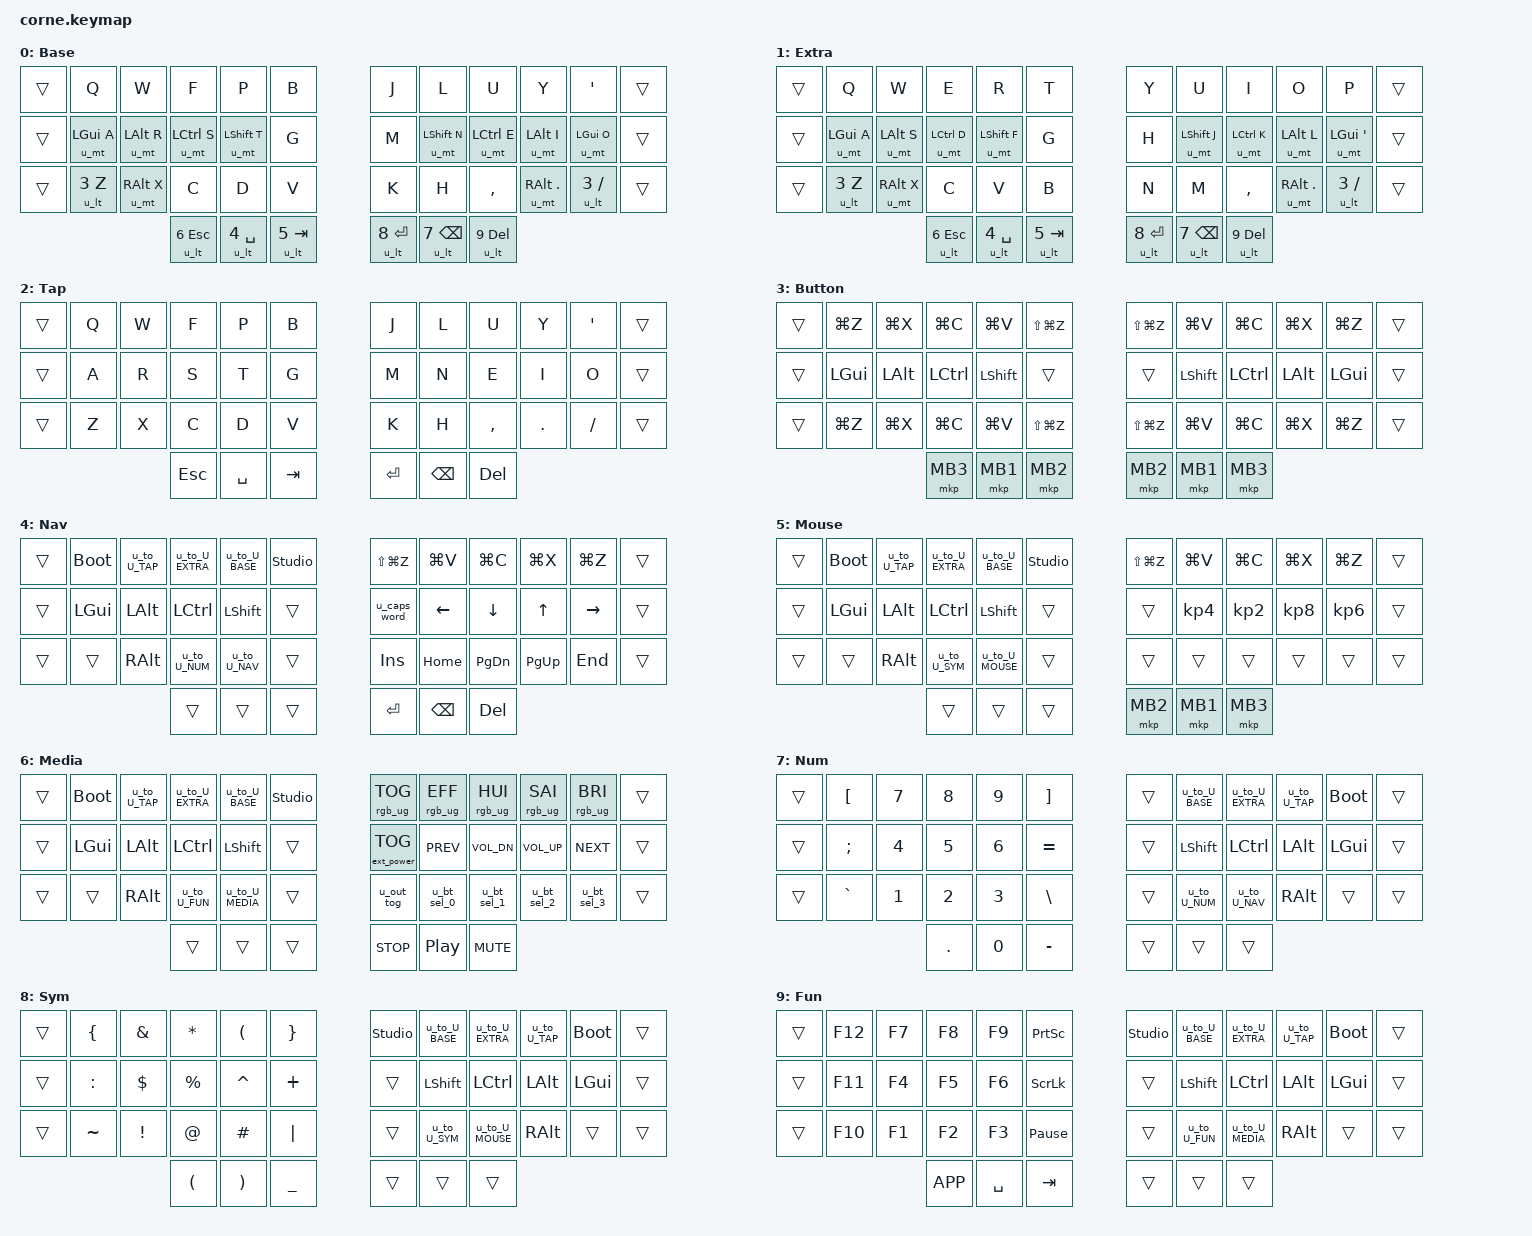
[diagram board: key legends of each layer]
#include <behaviors.dtsi>
#include <dt-bindings/zmk/keys.h>
#include <dt-bindings/zmk/bt.h>
#include <dt-bindings/zmk/outputs.h>
#include <dt-bindings/zmk/ext_power.h>

/ {
	keymap {
		compatible = "zmk,keymap";

	/* Base layer */
	BASE {
		display-name = "Base";
			bindings = <
			&trans			&kp Q  			&kp W  			&kp F  			&kp P  			&kp B       		&kp J  			&kp L  			&kp U  			&kp Y  			&kp SQT  		&trans
			&trans  		&u_mt LGUI A  		&u_mt LALT R  		&u_mt LCTRL S  		&u_mt LSHFT T  		&kp G       		&kp M  			&u_mt LSHFT N  		&u_mt LCTRL E  		&u_mt LALT I  		&u_mt LGUI O  		&trans
			&trans  		&u_lt 3 Z  		&u_mt RALT X  		&kp C  			&kp D  			&kp V       		&kp K  			&kp H  			&kp COMMA  		&u_mt RALT DOT  	&u_lt 3 SLASH  		&trans
												&u_lt 6 ESC  		&u_lt 4 SPACE  		&u_lt 5 TAB    		&u_lt 8 RET  		&u_lt 7 BSPC  		&u_lt 9 DEL
			>;
		};

	/* Extra layer */
	EXTRA {
		display-name = "Extra";
			bindings = <
			&trans 			&kp Q  			&kp W  			&kp E  			&kp R  			&kp T       		&kp Y  			&kp U  			&kp I  			&kp O  			&kp P  			&trans
			&trans 			&u_mt LGUI A  		&u_mt LALT S  		&u_mt LCTRL D  		&u_mt LSHFT F  		&kp G       		&kp H  			&u_mt LSHFT J  		&u_mt LCTRL K  		&u_mt LALT L  		&u_mt LGUI SQT  	&trans
			&trans 			&u_lt 3 Z  		&u_mt RALT X  		&kp C  			&kp V  			&kp B    		&kp N  			&kp M  			&kp COMMA  		&u_mt RALT DOT  	&u_lt 3 SLASH  		&trans
												&u_lt 6	ESC  		&u_lt 4 SPACE  		&u_lt 5 TAB     	&u_lt 8 RET  		&u_lt 7 BSPC  		&u_lt 9 DEL
			>;
		};

	/* Tap layer */
	TAP {
		display-name   = "Tap";
		bindings = <
			&trans  		&kp Q  			&kp W  			&kp F  			&kp P        		&kp B       		&kp J  			&kp L  			&kp U  			&kp Y  			&kp SQT  		&trans
			&trans			&kp A  			&kp R  			&kp S  			&kp T			&kp G       		&kp M  			&kp N  			&kp E  			&kp I  			&kp O  			&trans
			&trans			&kp Z  			&kp X  			&kp C  			&kp D			&kp V       		&kp K  			&kp H  			&kp COMMA  		&kp DOT  		&kp SLASH  		&trans
												&kp ESC  		&kp SPACE  		&kp TAB       		&kp RET  		&kp BSPC  		&kp DEL
			>;
		};

	/* Button layer */
	BUTTON {
		display-name   = "Button";
		bindings = <
			&trans			&kp LG(Z)  		&kp LG(X)  		&kp LG(C)		&kp LG(V)  		&kp LS(LG(Z))		&kp LS(LG(Z))  		&kp LG(V)  		&kp LG(C)  		&kp LG(X)  		&kp LG(Z)  		&trans
			&trans  		&kp LGUI  		&kp LALT  		&kp LCTRL  		&kp LSHFT  		&trans       		&trans  		&kp LSHFT  		&kp LCTRL  		&kp LALT  		&kp LGUI  		&trans
			&trans  		&kp LG(Z)  		&kp LG(X)  		&kp LG(C)  		&kp LG(V)  		&kp LS(LG(Z))   	&kp LS(LG(Z))  		&kp LG(V)  		&kp LG(C)  		&kp LG(X)  		&kp LG(Z)  		&trans
												&mkp MB3  		&mkp MB1  		&mkp MB2       		&mkp MB2  		&mkp MB1  		&mkp MB3
			>;
		};

	/* Navigation layer */
	NAV {
		display-name   = "Nav";
		bindings = <
			&trans  		&bootloader  		&u_to_U_TAP  		&u_to_U_EXTRA  		&u_to_U_BASE  		&studio_unlock		&kp LS(LG(Z))  		&kp LG(V)  		&kp LG(C)  		&kp LG(X)  		&kp LG(Z)  		&trans
			&trans  		&kp LGUI  		&kp LALT  		&kp LCTRL  		&kp LSHFT  		&trans       		&u_caps_word  		&kp LEFT  		&kp DOWN  		&kp UP  		&kp RIGHT  		&trans
			&trans  		&trans  		&kp RALT  		&u_to_U_NUM  		&u_to_U_NAV  		&trans       		&kp INS  		&kp HOME  		&kp PG_DN  		&kp PG_UP  		&kp END  		&trans
												&trans  		&trans  		&trans       		&kp RET  		&kp BSPC  		&kp DEL
			>;
		};

	/* Mouse layer */
	MOUSE {
		display-name   = "Mouse";
		bindings       = <
			&trans  		&bootloader  		&u_to_U_TAP  		&u_to_U_EXTRA 		&u_to_U_BASE  		&studio_unlock		&kp LS(LG(Z))  		&kp LG(V)  		&kp LG(C)  		&kp LG(X)  		&kp LG(Z)  		&trans
			&trans  		&kp LGUI  		&kp LALT  		&kp LCTRL  		&kp LSHFT  		&trans       		&trans  		&kp KP_N4  		&kp KP_N2  		&kp KP_N8  		&kp KP_N6  		&trans
			&trans  		&trans  		&kp RALT  		&u_to_U_SYM  		&u_to_U_MOUSE  		&trans       		&trans  		&trans  		&trans  		&trans  		&trans  		&trans
												&trans  		&trans 			&trans       		&mkp MB2  		&mkp MB1  		&mkp MB3
			>;
		};

	/* Media layer */
	MEDIA {
		display-name   = "Media";
		bindings       = <
			&trans  		&bootloader  		&u_to_U_TAP  		&u_to_U_EXTRA  		&u_to_U_BASE  		&studio_unlock		&rgb_ug RGB_TOG		&rgb_ug RGB_EFF 	&rgb_ug RGB_HUI		&rgb_ug RGB_SAI		&rgb_ug RGB_BRI		&trans
			&trans  		&kp LGUI  		&kp LALT  		&kp LCTRL  		&kp LSHFT  		&trans       		&ext_power EP_TOG  	&kp C_PREV  		&kp C_VOL_DN  		&kp C_VOL_UP  		&kp C_NEXT  		&trans
			&trans  		&trans  		&kp RALT  		&u_to_U_FUN  		&u_to_U_MEDIA  		&trans       		&u_out_tog  		&u_bt_sel_0  		&u_bt_sel_1  		&u_bt_sel_2  		&u_bt_sel_3  		&trans
												&trans  		&trans  		&trans       		&kp C_STOP  		&kp C_PP  		&kp C_MUTE
			>;
		};

	/* Number layer */
	NUM {
		display-name   = "Num";
		bindings       = <
			&trans  		&kp LBKT 		&kp N7  		&kp N8  		&kp N9  		&kp RBKT       		&trans  		&u_to_U_BASE		&u_to_U_EXTRA		&u_to_U_TAP  		&bootloader  		&trans
			&trans  		&kp SEMI 		&kp N4  		&kp N5  		&kp N6  		&kp EQUAL      		&trans 			&kp LSHFT  		&kp LCTRL  		&kp LALT  		&kp LGUI  		&trans
			&trans  		&kp GRAVE		&kp N1  		&kp N2  		&kp N3  		&kp BSLH       		&trans  		&u_to_U_NUM 		&u_to_U_NAV  		&kp RALT  		&trans  		&trans
												&kp DOT  		&kp N0  		&kp MINUS       	&trans  		&trans  		&trans
			>;
		};

	/* Symbol layer */
	SYM {
		display-name   = "Sym";
		bindings       = <
			&trans  		&kp LBRC 		&kp AMPS 		&kp ASTRK  		&kp LPAR  		&kp RBRC       		&studio_unlock  	&u_to_U_BASE  		&u_to_U_EXTRA  		&u_to_U_TAP  		&bootloader  		&trans
			&trans  		&kp COLON		&kp DLLR		&kp PRCNT  		&kp CARET 		&kp PLUS       		&trans  		&kp LSHFT  		&kp LCTRL  		&kp LALT  		&kp LGUI  		&trans
			&trans  		&kp TILDE		&kp EXCL		&kp AT  		&kp HASH  		&kp PIPE       		&trans  		&u_to_U_SYM  		&u_to_U_MOUSE  		&kp RALT  		&trans  		&trans
												&kp LPAR  		&kp RPAR  		&kp UNDER      	 	&trans  		&trans  		&trans
			>;
		};
	
	/* Function layer */
	FUN {
		display-name   = "Fun";
		bindings       = <
			&trans  		&kp F12  		&kp F7  		&kp F8  		&kp F9  		&kp PSCRN     		&studio_unlock  	&u_to_U_BASE  		&u_to_U_EXTRA  		&u_to_U_TAP  		&bootloader  		&trans
			&trans  		&kp F11  		&kp F4  		&kp F5  		&kp F6  		&kp SLCK      		&trans  		&kp LSHFT  		&kp LCTRL  		&kp LALT  		&kp LGUI  		&trans
			&trans  		&kp F10  		&kp F1  		&kp F2  		&kp F3  		&kp PAUSE_BREAK		&trans  		&u_to_U_FUN  		&u_to_U_MEDIA  		&kp RALT  		&trans  		&trans
												&kp K_APP  		&kp SPACE  		&kp TAB       		&trans  		&trans  		&trans
			>;
		};
	};
};

/ {
	macros {
		/* Macro to select Bluetooth device 0 */
		u_macro_u_bt_sel_0: u_macro_u_bt_sel_0 {
			compatible = "zmk,behavior-macro";
			#binding-cells = <0>;
			wait-ms = <0>;
			bindings = <&bt BT_SEL 0 &bt BT_CLR>;
		};	

		/* Macro to select Bluetooth device 1 */
		u_macro_u_bt_sel_1: u_macro_u_bt_sel_1 {
			compatible = "zmk,behavior-macro";
			#binding-cells = <0>;
			wait-ms = <0>;
			bindings = <&bt BT_SEL 1 &bt BT_CLR>;
		};	

		/* Macro to select Bluetooth device 2 */
		u_macro_u_bt_sel_2: u_macro_u_bt_sel_2 {
			compatible = "zmk,behavior-macro";
			#binding-cells = <0>;
			wait-ms = <0>;
			bindings = <&bt BT_SEL 2 &bt BT_CLR>;
		};	

		/* Macro to select Bluetooth device 3 */
		u_macro_u_bt_sel_3: u_macro_u_bt_sel_3 {
			compatible = "zmk,behavior-macro";
			#binding-cells = <0>;
			wait-ms = <0>;
			bindings = <&bt BT_SEL 3 &bt BT_CLR>;
		};	

		/* Macro to select Bluetooth device 4 */
		u_macro_u_bt_sel_4: u_macro_u_bt_sel_4 {
			compatible = "zmk,behavior-macro";
			#binding-cells = <0>;
			wait-ms = <0>;
			bindings = <&bt BT_SEL 4 &bt BT_CLR>;
		};
	};
};

/ {
	behaviors {
		/* Behavior to toggle Bluetooth device 0 */
		u_bt_sel_0: u_bt_sel_0 {
			compatible = "zmk,behavior-mod-morph";
			#binding-cells = <0>;
			bindings = <&bt BT_SEL 0>, <&u_macro_u_bt_sel_0>;
			mods = <(MOD_LSFT|MOD_RSFT)>;
		};

		/* Behavior to toggle Bluetooth device 1 */
		u_bt_sel_1: u_bt_sel_1 {
			compatible = "zmk,behavior-mod-morph";
			#binding-cells = <0>;
			bindings = <&bt BT_SEL 1>, <&u_macro_u_bt_sel_1>;
			mods = <(MOD_LSFT|MOD_RSFT)>;
		};

		/* Behavior to toggle Bluetooth device 2 */
		u_bt_sel_2: u_bt_sel_2 {
			compatible = "zmk,behavior-mod-morph";
			#binding-cells = <0>;
			bindings = <&bt BT_SEL 2>, <&u_macro_u_bt_sel_2>;
			mods = <(MOD_LSFT|MOD_RSFT)>;
		};

		/* Behavior to toggle Bluetooth device 3 */
		u_bt_sel_3: u_bt_sel_3 {
			compatible = "zmk,behavior-mod-morph";
			#binding-cells = <0>;
			bindings = <&bt BT_SEL 3>, <&u_macro_u_bt_sel_3>;
			mods = <(MOD_LSFT|MOD_RSFT)>;
		};

		/* Behavior to toggle Bluetooth device 4 */
		u_bt_sel_4: u_bt_sel_4 {
			compatible = "zmk,behavior-mod-morph";
			#binding-cells = <0>;
			bindings = <&bt BT_SEL 4>, <&u_macro_u_bt_sel_4>;
			mods = <(MOD_LSFT|MOD_RSFT)>;
		};

		/* Behavior to toggle output */
		u_out_tog: u_out_tog {
			compatible = "zmk,behavior-mod-morph";
			#binding-cells = <0>;
			bindings = <&out OUT_TOG>, <&out OUT_USB>;
			mods = <(MOD_LSFT|MOD_RSFT)>;
		};

		/* Behavior to toggle Caps Lock word */
		u_caps_word: u_caps_word {
			compatible = "zmk,behavior-mod-morph";
			#binding-cells = <0>;
			bindings = <&caps_word>, <&kp CAPS>;
			mods = <(MOD_LSFT|MOD_RSFT)>;
		};

		/* Behavior to tap-dance to Base layer */
		u_to_U_BASE: u_to_U_BASE {
			compatible = "zmk,behavior-tap-dance";
			#binding-cells = <0>;
			tapping-term-ms = <200>;
			bindings = <&trans>, <&to 0>;
		};

		/* Behavior to tap-dance to Extra layer */
		u_to_U_EXTRA: u_to_U_EXTRA {
			compatible = "zmk,behavior-tap-dance";
			#binding-cells = <0>;
			tapping-term-ms = <200>;
			bindings = <&trans>, <&to 1>;
		};

		/* Behavior to tap-dance to Tap layer */
		u_to_U_TAP: u_to_U_TAP {
			compatible = "zmk,behavior-tap-dance";
			#binding-cells = <0>;
			tapping-term-ms = <200>;
			bindings = <&trans>, <&to 2>;
		};

		/* Behavior to tap-dance to Button layer */
		u_to_U_BUTTON: u_to_U_BUTTON {
			compatible = "zmk,behavior-tap-dance";
			#binding-cells = <0>;
			tapping-term-ms = <200>;
			bindings = <&trans>, <&to 3>;
		};

		/* Behavior to tap-dance to Navigation layer */
		u_to_U_NAV: u_to_U_NAV {
			compatible = "zmk,behavior-tap-dance";
			#binding-cells = <0>;
			tapping-term-ms = <200>;
			bindings = <&trans>, <&to 4>;
		};

		/* Behavior to tap-dance to Mouse layer */
		u_to_U_MOUSE: u_to_U_MOUSE {
			compatible = "zmk,behavior-tap-dance";
			#binding-cells = <0>;
			tapping-term-ms = <200>;
			bindings = <&trans>, <&to 5>;
		};

		/* Behavior to tap-dance to Media layer */
		u_to_U_MEDIA: u_to_U_MEDIA {
			compatible = "zmk,behavior-tap-dance";
			#binding-cells = <0>;
			tapping-term-ms = <200>;
			bindings = <&trans>, <&to 6>;
		};

		/* Behavior to tap-dance to Number layer */
		u_to_U_NUM: u_to_U_NUM {
			compatible = "zmk,behavior-tap-dance";
			#binding-cells = <0>;
			tapping-term-ms = <200>;
			bindings = <&trans>, <&to 7>;
		};

		/* Behavior to tap-dance to Symbol layer */
		u_to_U_SYM: u_to_U_SYM {
			compatible = "zmk,behavior-tap-dance";
			#binding-cells = <0>;
			tapping-term-ms = <200>;
			bindings = <&trans>, <&to 8>;
		};

		/* Behavior to tap-dance to Function layer */
		u_to_U_FUN: u_to_U_FUN {
			compatible = "zmk,behavior-tap-dance";
			#binding-cells = <0>;
			tapping-term-ms = <200>;
			bindings = <&trans>, <&to 9>;
		};
	};
};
